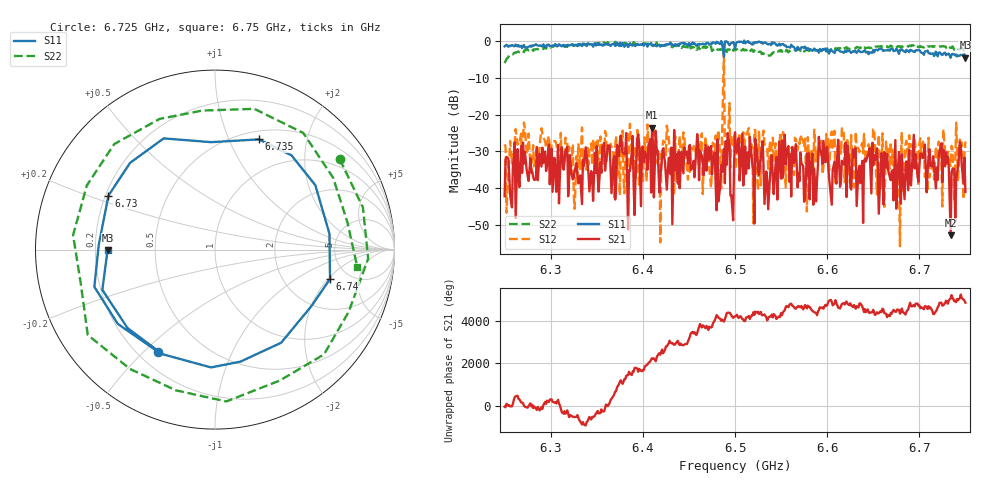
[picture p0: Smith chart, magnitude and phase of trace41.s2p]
# Hz S RI R 50
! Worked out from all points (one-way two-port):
!   401 points, 6.25 GHz to 6.75 GHz, reference 50 ohm
!   highest |S21| = -23.47 dB at 6.41 GHz (marker M1); lowest = -52.8 dB at 6.734 GHz (marker M2)
!   lowest |S11| = -4.5 dB at 6.75 GHz (marker M3), VSWR 3.98, Z = 12.6 - j0.143 ohm
!   |S11| at or under -10 dB: nowhere
!   |S22| runs from -5.9 to -0.1 dB; largest |S21 - S12| = 0.78
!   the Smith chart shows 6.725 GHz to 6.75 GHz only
!   S11 on the Smith chart (normalised r, x): 6.725 GHz: 0.28, -0.55; 6.73 GHz: 0.21, +0.23; 6.735 GHz: 0.59, +1.29; 6.74 GHz: 3.61, -2.10; 6.75 GHz: 0.25, -0.00
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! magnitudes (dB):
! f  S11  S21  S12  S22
! 6.25 GHz  -1.3  -42.2  -28.1  -5.9
! 6.27 GHz  -1.2  -27.6  -26.0  -2.7
! 6.334 GHz  -1.2  -44.3  -23.5  -0.9
! 6.41 GHz  -1.1  -23.5  -33.2  -0.9
! 6.418 GHz  -0.9  -41.2  -30.5  -1.1
! 6.425 GHz  -1.1  -36.6  -31.3  -0.8
! 6.434 GHz  -1.2  -24.1  -41.8  -1.1
! 6.475 GHz  -0.6  -36.3  -35.0  -2.6
! 6.489 GHz  0.0  -38.7  -29.5  -1.8
! 6.5 GHz  -2.2  -24.8  -29.9  -2.4
! 6.584 GHz  -2.6  -30.6  -29.2  -2.5
! 6.594 GHz  -2.6  -30.7  -27.1  -2.6
! 6.604 GHz  -2.2  -41.9  -26.1  -2.2
! 6.668 GHz  -2.6  -37.0  -34.8  -1.4
! 6.678 GHz  -3.4  -30.1  -36.6  -1.3
! 6.688 GHz  -2.7  -40.6  -33.0  -1.4
! 6.725 GHz  -3.7  -38.3  -45.0  -1.3
! 6.73 GHz  -3.5  -33.0  -33.4  -1.5
! 6.734 GHz  -4.5  -52.8  -34.0  -1.8
! 6.735 GHz  -3.6  -35.7  -28.5  -1.8
! 6.74 GHz  -3.6  -37.8  -22.1  -2.0
! 6.75 GHz  -4.5  -41.0  -27.3  -1.9
